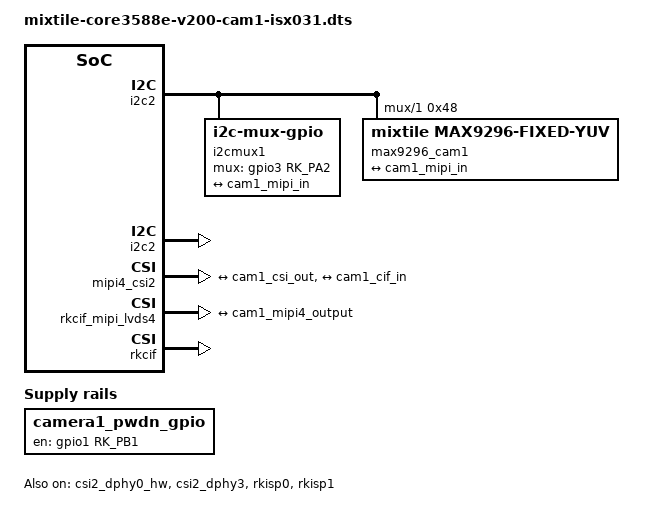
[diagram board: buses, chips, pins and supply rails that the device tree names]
/dts-v1/;
/plugin/;

#include <dt-bindings/gpio/gpio.h>
#include <dt-bindings/pinctrl/rockchip.h>
#include <dt-bindings/clock/rk3588-cru.h>
#include <dt-bindings/power/rk3588-power.h>

/ {
    /* =========================================================
     * GPIO / REGULATOR / I2C MUX
     * ========================================================= */
    fragment@0 {
        target-path = "/";
        __overlay__ {

            camera1_pwdn_gpio: camera1-pwdn-gpio {
                compatible         = "regulator-fixed";
                regulator-name     = "camera1_pwdn_gpio";
                regulator-always-on;
                regulator-boot-on;
                enable-active-high;
                gpio               = <&gpio1 RK_PB1 GPIO_ACTIVE_HIGH>;
            };

            i2cmux1: i2cmux1 {
                compatible         = "i2c-mux-gpio";
                #address-cells     = <1>;
                #size-cells        = <0>;
                i2c-parent         = <&i2c2>;
                mux-gpios          = <&gpio3 RK_PA2 GPIO_ACTIVE_HIGH>;

                i2c_cam1: i2c@1 {
                    reg            = <1>;
                    #address-cells = <1>;
                    #size-cells    = <0>;
                };
            };
        };
    };

    /* =========================================================
     * ENABLE I2C2
     * ========================================================= */
    fragment@1 {
        target = <&i2c2>;
        __overlay__ {
            pinctrl-names = "default";
            pinctrl-0     = <&i2c2m4_xfer>;
            status        = "okay";
        };
    };

    /* =========================================================
     * ENABLE I2C MUX
     * ========================================================= */
    fragment@2 {
        target = <&i2cmux1>;
        __overlay__ {
            status = "okay";
        };
    };

    /* =========================================================
     * CAM1 GMSL BRIDGE
     * ========================================================= */
    fragment@3 {
        target = <&i2c_cam1>;
        __overlay__ {

            #address-cells = <1>;
            #size-cells    = <0>;

            max9296_cam1: max9296@48 {
                compatible = "mixtile,max9296-fixed-yuv";
                reg        = <0x48>;

                #address-cells = <1>;
                #size-cells    = <0>;
                status         = "okay";

                rockchip,camera-module-index     = <1>;
                rockchip,camera-module-facing    = "back";
                rockchip,camera-module-name      = "MAX9296";
                rockchip,camera-module-lens-name = "GMSL";

                mixtile,max9296-init-sequence = <
                    0x48 0x00 0x05 0x80 0
                    0x48 0x00 0x06 0xdf 0
                    0x48 0x00 0x01 0x01 0
                    0x48 0x00 0x11 0x0f 0
                    0x48 0x03 0x13 0x00 0
                    0x48 0x00 0x10 0x21 200
                    0x48 0x04 0x4b 0x07 0
                    0x48 0x04 0x6d 0x15 0
                    0x48 0x04 0x4d 0x1e 0
                    0x48 0x04 0x4e 0x1e 0
                    0x48 0x04 0x4f 0x00 0
                    0x48 0x04 0x50 0x00 0
                    0x48 0x04 0x51 0x01 0
                    0x48 0x04 0x52 0x01 0
                    0x48 0x04 0x8b 0x07 0
                    0x48 0x04 0xad 0x15 0
                    0x48 0x04 0x8d 0x1e 0
                    0x48 0x04 0x8e 0x5e 0
                    0x48 0x04 0x8f 0x00 0
                    0x48 0x04 0x90 0x40 0
                    0x48 0x04 0x91 0x01 0
                    0x48 0x04 0x92 0x41 0
                    0x48 0x04 0x4a 0xc0 0
                    0x48 0x04 0x8a 0xc0 0
                    0x48 0x03 0x20 0x2f 100
                    0x48 0x03 0x13 0x02 0
                >;

                max96717_cam1: max96717@40 {
                    compatible = "mixtile,max96717-script";
                    reg        = <0x40>;
                    status     = "okay";

                    mixtile,init-sequence = <
                        0x40 0x00 0x10 0x21 200
                        0x40 0x00 0x6b 0x16 0
                        0x40 0x00 0x73 0x17 0
                        0x40 0x00 0x7b 0x36 0
                        0x40 0x00 0x83 0x36 0
                        0x40 0x00 0x8b 0x36 0
                        0x40 0x00 0x93 0x36 0
                        0x40 0x00 0x9b 0x36 0
                        0x40 0x00 0xa3 0x36 0
                        0x40 0x00 0xab 0x36 20
                        0x40 0x02 0xbe 0x10 200
                        0x40 0x02 0xd3 0x00 0
                        0x40 0x02 0xd6 0x00 0
                        0x40 0x00 0x5b 0x01 0
                        0x40 0x03 0x18 0x5e 0
                        0x40 0x03 0x31 0x33 0
                        0x40 0x02 0xd3 0x10 0
                        0x40 0x02 0xd5 0x07 0
                        0x40 0x02 0xd6 0x10 0
                        0x40 0x02 0xd8 0x07 0
                        0x40 0x02 0xd3 0x84 0
                        0x40 0x02 0xd6 0x84 0
                    >;
                };

                isx031_cam1: isx031@1a {
                    compatible = "sony,isx031-script";
                    reg        = <0x1a>;
                    status     = "okay";

                    mixtile,init-sequence = <
                        0x1a 0xbe 0xf0 0x53 0
                        0x1a 0x8a 0x01 0x80 0
                    >;
                };

                port {
                    cam1_max9296_out: endpoint {
                        remote-endpoint  = <&cam1_mipi_in>;
                        data-lanes       = <1 2 3 4>;
                        link-frequencies = /bits/ 64 <456000000>;
                    };
                };
            };
        };
    };

    /* =========================================================
     * ENABLE CSI2 DPHY HW
     * ========================================================= */
    fragment@4 {
        target = <&csi2_dphy0_hw>;
        __overlay__ {
            status = "okay";
        };
    };

    /* =========================================================
     * CAM1 DPHY3 PIPELINE
     * ========================================================= */
    fragment@5 {
        target = <&csi2_dphy3>;
        __overlay__ {
            status = "okay";

            ports {
                #address-cells = <1>;
                #size-cells    = <0>;

                port@0 {
                    reg            = <0>;
                    #address-cells = <1>;
                    #size-cells    = <0>;

                    cam1_mipi_in: endpoint@1 {
                        reg             = <1>;
                        remote-endpoint = <&cam1_max9296_out>;
                        data-lanes      = <1 2 3 4>;
                    };
                };

                port@1 {
                    reg            = <1>;
                    #address-cells = <1>;
                    #size-cells    = <0>;

                    cam1_csi_out: endpoint@0 {
                        reg             = <0>;
                        remote-endpoint = <&cam1_mipi4_input>;
                    };
                };
            };
        };
    };

    /* =========================================================
     * CAM1 MIPI CSI2
     * ========================================================= */
    fragment@6 {
        target = <&mipi4_csi2>;
        __overlay__ {
            status = "okay";

            ports {
                #address-cells = <1>;
                #size-cells    = <0>;

                port@0 {
                    reg            = <0>;
                    #address-cells = <1>;
                    #size-cells    = <0>;

                    cam1_mipi4_input: endpoint@1 {
                        reg             = <1>;
                        remote-endpoint = <&cam1_csi_out>;
                    };
                };

                port@1 {
                    reg            = <1>;
                    #address-cells = <1>;
                    #size-cells    = <0>;

                    cam1_mipi4_output: endpoint@0 {
                        reg             = <0>;
                        remote-endpoint = <&cam1_cif_in>;
                    };
                };
            };
        };
    };

    /* =========================================================
     * CAM1 CIF
     * ========================================================= */
    fragment@7 {
        target = <&rkcif_mipi_lvds4>;
        __overlay__ {
            status = "okay";

            port {
                cam1_cif_in: endpoint {
                    remote-endpoint = <&cam1_mipi4_output>;
                };
            };
        };
    };

    /* =========================================================
     * PIPELINE ENABLE
     * ========================================================= */
    fragment@8  { target = <&rkcif>;      __overlay__ { status = "okay"; }; };
    fragment@9  { target = <&rkcif_mmu>;  __overlay__ { status = "okay"; }; };
    fragment@10 { target = <&rkisp0>;     __overlay__ { status = "okay"; }; };
    fragment@11 { target = <&isp0_mmu>;   __overlay__ { status = "okay"; }; };
    fragment@12 { target = <&rkisp1>;     __overlay__ { status = "okay"; }; };
    fragment@13 { target = <&isp1_mmu>;   __overlay__ { status = "okay"; }; };
};
